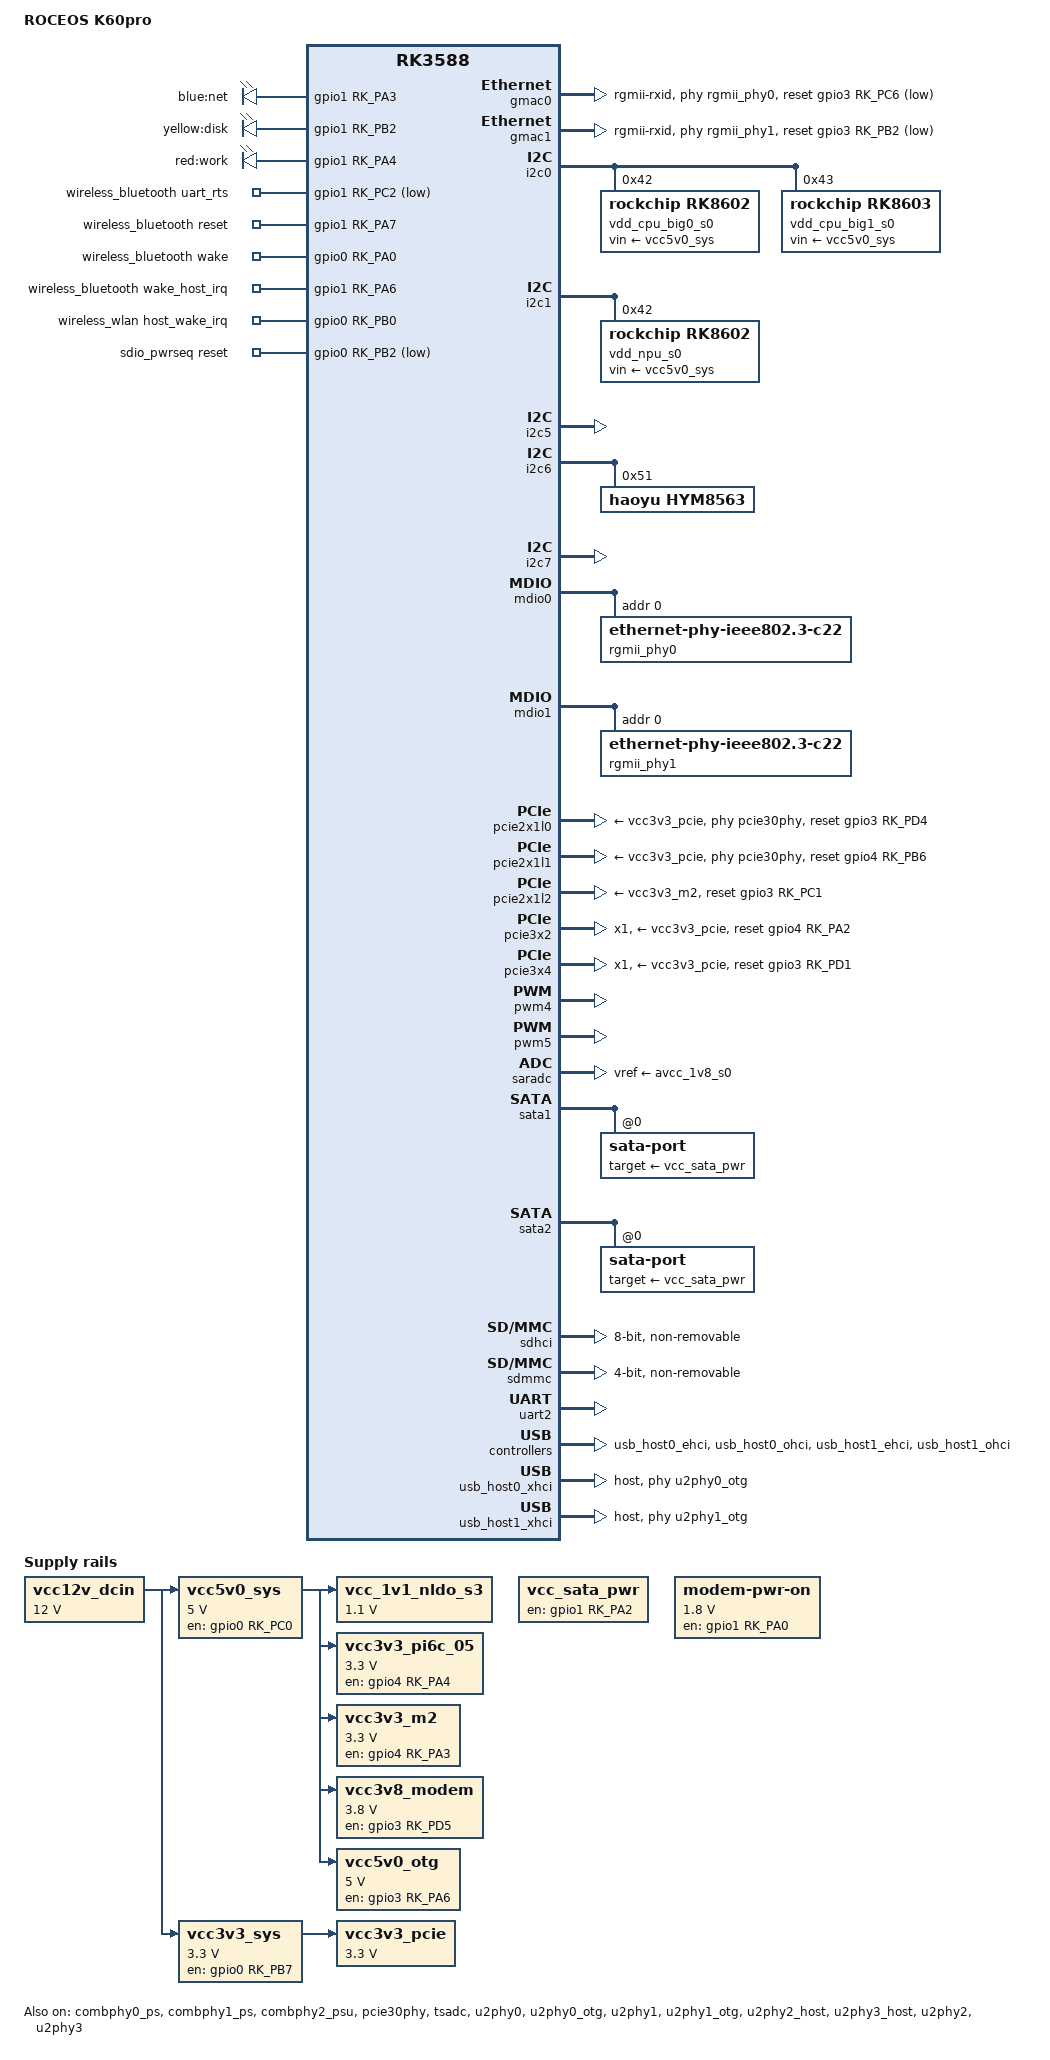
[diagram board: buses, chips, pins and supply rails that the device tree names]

/dts-v1/;

#include <dt-bindings/gpio/gpio.h>
#include <dt-bindings/input/input.h>
#include <dt-bindings/pinctrl/rockchip.h>
#include <dt-bindings/usb/pd.h>
#include <rockchip/rk3588.dtsi>
#include "rk3588-rk806-single.dtsi"
#include "rk3588s-ip.dtsi"
#include "rk3588s-ip-supply.dtsi"

/ {
	model = "ROCEOS K60pro";
	compatible = "roceos,k60pro", "rockchip,rk3588";

	aliases {
		ethernet0 = &gmac0;
		ethernet1 = &gmac1;

		led-boot = &led_red;
		led-failsafe = &led_red;
		led-running = &led_red;
		led-upgrade = &led_red;
	};

	chosen {
		stdout-path = "serial2:115200n8";
	};

	leds {
		compatible = "gpio-leds";
		pinctrl-names = "default";
		pinctrl-0 = <&led_net_en>, <&led_sata_en>,
			<&led_work_en>;

		net {
			label = "blue:net";
			gpios = <&gpio1 RK_PA3 GPIO_ACTIVE_HIGH>;
		};

		disk {
			label = "yellow:disk";
			gpios = <&gpio1 RK_PB2 GPIO_ACTIVE_HIGH>;
		};

		led_red: work {
			label = "red:work";
			gpios = <&gpio1 RK_PA4 GPIO_ACTIVE_HIGH>;
		};
	};

	vcc12v_dcin: vcc12v-dcin {
		compatible = "regulator-fixed";
		regulator-always-on;
		regulator-boot-on;
		regulator-min-microvolt = <12000000>;
		regulator-max-microvolt = <12000000>;
		regulator-name = "vcc12v_dcin";
	};

	vcc5v0_sys: vcc5v0-sys {
		compatible = "regulator-fixed";
		regulator-always-on;
		regulator-boot-on;
		enable-active-high;
		gpios = <&gpio0 RK_PC0 GPIO_ACTIVE_HIGH>;
		regulator-min-microvolt = <5000000>;
		regulator-max-microvolt = <5000000>;
		regulator-name = "vcc5v0_sys";
		pinctrl-names = "default";
		pinctrl-0 = <&vcc5v0_power_en>;
		vin-supply = <&vcc12v_dcin>;
	};

	vcc3v3_sys: vcc3v3-sys {
		compatible = "regulator-fixed";
		regulator-always-on;
		regulator-boot-on;
		enable-active-high;
		gpios = <&gpio0 RK_PB7 GPIO_ACTIVE_HIGH>;
		regulator-min-microvolt = <3300000>;
		regulator-max-microvolt = <3300000>;
		regulator-name = "vcc3v3_sys";
		pinctrl-names = "default";
		pinctrl-0 = <&vcc3v3_power_en>;
		vin-supply = <&vcc12v_dcin>;
	};

	vcc_1v1_nldo_s3: vcc-1v1-nldo-s3 {
		compatible = "regulator-fixed";
		regulator-always-on;
		regulator-boot-on;
		regulator-min-microvolt = <1100000>;
		regulator-max-microvolt = <1100000>;
		regulator-name = "vcc_1v1_nldo_s3";
		vin-supply = <&vcc5v0_sys>;
	};

	/* pi6c pcie clock generator feeds both ports */
	vcc3v3_pi6c_05: vcc3v3-pi6c-05 {
		compatible = "regulator-fixed";
		regulator-name = "vcc3v3_pi6c_05";
		regulator-always-on;
		regulator-boot-on;
		regulator-min-microvolt = <3300000>;
		regulator-max-microvolt = <3300000>;
		enable-active-high;
		gpios = <&gpio4 RK_PA4 GPIO_ACTIVE_HIGH>;
		startup-delay-us = <200000>;
		pinctrl-names = "default";
		pinctrl-0 = <&pi6c_power_en>;
		vin-supply = <&vcc5v0_sys>;
	};

	/* actually fed by vcc5v0_sys, dependent on pi6c clock generator */
	vcc3v3_m2: vcc3v3-m2 {
		compatible = "regulator-fixed";
		enable-active-high;
		gpios = <&gpio4 RK_PA3 GPIO_ACTIVE_HIGH>;
		regulator-min-microvolt = <3300000>;
		regulator-max-microvolt = <3300000>;
		regulator-name = "vcc3v3_m2";
		startup-delay-us = <50000>;
		pinctrl-names = "default";
		pinctrl-0 = <&m2_power_en>;
		clk-supply = <&vcc3v3_pi6c_05>;
		vin-supply = <&vcc5v0_sys>;
	};

	/* actually fed by vcc3v3_sys, dependent on pi6c clock generator */
	vcc3v3_pcie: vcc3v3-pcie {
		compatible = "regulator-fixed";
		regulator-name = "vcc3v3_pcie";
		regulator-min-microvolt = <3300000>;
		regulator-max-microvolt = <3300000>;
		startup-delay-us = <50000>;
		clk-supply = <&vcc3v3_pi6c_05>;
		vin-supply = <&vcc3v3_sys>;
	};

	vcc_sata_pwr: vcc-sata-pwr {
		compatible = "regulator-fixed";
		enable-active-high;
		gpios = <&gpio1 RK_PA2 GPIO_ACTIVE_HIGH>;
		regulator-name = "vcc_sata_pwr";
		pinctrl-names = "default";
		pinctrl-0 = <&vcc_sata_pwr_en>;
		vin1-supply = <&vcc12v_dcin>;
		vin2-supply = <&vcc5v0_sys>;
	};

	vcc3v8_modem: vcc3v3-modem {
		compatible = "regulator-fixed";
		enable-active-high;
		regulator-always-on;
		regulator-boot-on;
		gpios = <&gpio3 RK_PD5 GPIO_ACTIVE_HIGH>;
		regulator-min-microvolt = <3800000>;
		regulator-max-microvolt = <3800000>;
		regulator-name = "vcc3v8_modem";
		pinctrl-names = "default";
		pinctrl-0 = <&modem_power_en>;
		vin-supply = <&vcc5v0_sys>;
	};

	/* press modem power key 2s to boot */
	modem-pwr-on {
		compatible = "regulator-fixed";
		enable-active-high;
		regulator-always-on;
		regulator-boot-on;
		gpios = <&gpio1 RK_PA0 GPIO_ACTIVE_HIGH>;
		regulator-min-microvolt = <1800000>;
		regulator-max-microvolt = <1800000>;
		regulator-name = "modem-pwr-on";
		vccio-supply = <&vcc_1v8_s0>;
		startup-delay-us = <2000000>;
		pinctrl-names = "default";
		pinctrl-0 = <&modem_pwr_on_en>;
	};

	vcc5v0_otg: vcc5v0-usb-host {
		compatible = "regulator-fixed";
		enable-active-high;
		gpio = <&gpio3 RK_PA6 GPIO_ACTIVE_HIGH>;
		pinctrl-names = "default";
		pinctrl-0 = <&vcc5v0_otg_en>;
		regulator-min-microvolt = <5000000>;
		regulator-max-microvolt = <5000000>;
		regulator-name = "vcc5v0_otg";
		vin-supply = <&vcc5v0_sys>;
	};

	wireless_bluetooth: wireless-bluetooth {
		status = "okay";
		compatible = "bluetooth-platdata";
		clocks = <&hym8563>;
		clock-names = "ext_clock";
		uart_rts_gpios = <&gpio1 RK_PC2 GPIO_ACTIVE_LOW>;
		pinctrl-names = "default", "rts_gpio";
		pinctrl-0 = <&uart3_rtsn>, <&bt_reset_gpio>, <&bt_wake_gpio>, <&bt_irq_gpio>;
		pinctrl-1 = <&uart3_gpios>;
		BT,reset_gpio = <&gpio1 RK_PA7 GPIO_ACTIVE_HIGH>;
		BT,wake_gpio = <&gpio0 RK_PA0 GPIO_ACTIVE_HIGH>;
		BT,wake_host_irq = <&gpio1 RK_PA6 GPIO_ACTIVE_HIGH>;
	};

	wireless_wlan: wireless-wlan {
		status = "okay";
		compatible = "wlan-platdata";
		wifi_chip_type = "ap6255";
		pinctrl-names = "default";
		pinctrl-0 = <&wifi_host_wake_irq>;
		WIFI,host_wake_irq = <&gpio0 RK_PB0 GPIO_ACTIVE_HIGH>;
	};

	sdio_pwrseq: sdio-pwrseq {
		status = "okay";
		compatible = "mmc-pwrseq-simple";
		clocks = <&hym8563>;
		clock-names = "ext_clock";
		pinctrl-names = "default";
		pinctrl-0 = <&wifi_enable_h>;
		post-power-on-delay-ms = <200>;
		reset-gpios = <&gpio0 RK_PB2 GPIO_ACTIVE_LOW>;
	};

};

&combphy0_ps {
	status = "okay";
};

&combphy1_ps {
	status = "okay";
};

&combphy2_psu {
	status = "okay";
};

&cpu_l0 {
	cpu-supply = <&vdd_cpu_lit_s0>;
};

&cpu_l1 {
	cpu-supply = <&vdd_cpu_lit_s0>;
};

&cpu_l2 {
	cpu-supply = <&vdd_cpu_lit_s0>;
};

&cpu_l3 {
	cpu-supply = <&vdd_cpu_lit_s0>;
};

&cpu_b0 {
	cpu-supply = <&vdd_cpu_big0_s0>;
};

&cpu_b1 {
	cpu-supply = <&vdd_cpu_big0_s0>;
};

&cpu_b2 {
	cpu-supply = <&vdd_cpu_big1_s0>;
};

&cpu_b3 {
	cpu-supply = <&vdd_cpu_big1_s0>;
};

&gmac0 {// ethernet@fe1b0000
	/* Use rgmii-rxid mode to disable rx delay inside Soc */
	phy-mode = "rgmii-rxid";

	snps,reset-gpio = <&gpio3 RK_PC6 GPIO_ACTIVE_LOW>;
	snps,reset-active-low;
	/* Reset time is 20ms, 100ms for rtl8211f */
	snps,reset-delays-us = <0 20000 100000>;

	pinctrl-names = "default";
#if 0
	pinctrl-0 = <&gmac0_miim
			&gmac0_tx_bus2
			&gmac0_rx_bus2
			&gmac0_rgmii_clk
			&gmac0_rgmii_bus
			&gmac0_clkinout>;
	clock_in_out = "input";
#else
	pinctrl-0 = <&gmac0_miim
			&gmac0_tx_bus2
			&gmac0_rx_bus2
			&gmac0_rgmii_clk
			&gmac0_rgmii_bus>;
	clock_in_out = "output";
#endif
	tx_delay = <0x44>;
	// rx_delay = <0x00>;

	phy-handle = <&rgmii_phy0>;
	status = "okay";
};

&gmac1 {// ethernet@fe1c0000
	/* Use rgmii-rxid mode to disable rx delay inside Soc */
	phy-mode = "rgmii-rxid";

	snps,reset-gpio = <&gpio3 RK_PB2 GPIO_ACTIVE_LOW>;
	snps,reset-active-low;
	/* Reset time is 20ms, 100ms for rtl8211f */
	snps,reset-delays-us = <0 20000 100000>;

	pinctrl-names = "default";
#if 0
	pinctrl-0 = <&gmac1_miim
			&gmac1_tx_bus2
			&gmac1_rx_bus2
			&gmac1_rgmii_clk
			&gmac1_rgmii_bus
			&gmac1_clkinout>;
	clock_in_out = "input";
#else
	pinctrl-0 = <&gmac1_miim
			&gmac1_tx_bus2
			&gmac1_rx_bus2
			&gmac1_rgmii_clk
			&gmac1_rgmii_bus>;
	clock_in_out = "output";
#endif

	tx_delay = <0x30>;
	/* rx_delay = <0x4f>; */

	phy-handle = <&rgmii_phy1>;
	status = "okay";
};

&i2c0 {
	pinctrl-names = "default";
	pinctrl-0 = <&i2c0m2_xfer>;
	status = "okay";

	vdd_cpu_big0_s0: regulator@42 {
		compatible = "rockchip,rk8602";
		reg = <0x42>;
		fcs,suspend-voltage-selector = <1>;
		regulator-name = "vdd_cpu_big0_s0";
		regulator-always-on;
		regulator-boot-on;
		regulator-min-microvolt = <550000>;
		regulator-max-microvolt = <1050000>;
		regulator-ramp-delay = <2300>;
		vin-supply = <&vcc5v0_sys>;

		regulator-state-mem {
			regulator-off-in-suspend;
		};
	};

	vdd_cpu_big1_s0: regulator@43 {
		compatible = "rockchip,rk8603", "rockchip,rk8602";
		reg = <0x43>;
		fcs,suspend-voltage-selector = <1>;
		regulator-name = "vdd_cpu_big1_s0";
		regulator-always-on;
		regulator-boot-on;
		regulator-min-microvolt = <550000>;
		regulator-max-microvolt = <1050000>;
		regulator-ramp-delay = <2300>;
		vin-supply = <&vcc5v0_sys>;

		regulator-state-mem {
			regulator-off-in-suspend;
		};
	};
};

&i2c1 {
	pinctrl-names = "default";
	pinctrl-0 = <&i2c1m2_xfer>;
	status = "okay";

	vdd_npu_s0: regulator@42 {
		compatible = "rockchip,rk8602";
		reg = <0x42>;
		fcs,suspend-voltage-selector = <1>;
		regulator-name = "vdd_npu_s0";
		regulator-always-on;
		regulator-boot-on;
		regulator-min-microvolt = <550000>;
		regulator-max-microvolt = <950000>;
		regulator-ramp-delay = <2300>;
		vin-supply = <&vcc5v0_sys>;

		regulator-state-mem {
			regulator-off-in-suspend;
		};
	};

};

&i2c5 {
	pinctrl-names = "default";
	pinctrl-0 = <&i2c5m2_xfer>;
	status = "okay";
};

&i2c6 {
	pinctrl-names = "default";
	pinctrl-0 = <&i2c6m0_xfer>;
	status = "okay";

	hym8563: rtc@51 {
		compatible = "haoyu,hym8563";
		reg = <0x51>;
		#clock-cells = <0>;
		clock-output-names = "hym8563";
		wakeup-source;
	};
};

&i2c7 {
	pinctrl-names = "default";
	pinctrl-0 = <&i2c7m3_xfer>;
	status = "okay";
};

&mdio0 {
	rgmii_phy0: ethernet-phy@0 {
		/* RTL8211FS */
		compatible = "ethernet-phy-ieee802.3-c22";
		reg = <0x0>;
		pinctrl-names = "default";
		pinctrl-0 = <&rtl8211f0_rst>;
		reset-assert-us = <20000>;
		reset-deassert-us = <100000>;
		//reset-gpios = <&gpio3 RK_PC6 GPIO_ACTIVE_LOW>;
		realtek,fiber;
		realtek,led-data = <0x616b>;
		realtek,flcr-data = <0xd3e9>;
	};
};

&mdio1 {
	rgmii_phy1: ethernet-phy@0 {
		/* RTL8211FS */
		compatible = "ethernet-phy-ieee802.3-c22";
		reg = <0x0>;
		pinctrl-names = "default";
		pinctrl-0 = <&rtl8211f1_rst>;
		reset-assert-us = <20000>;
		reset-deassert-us = <100000>;
		//reset-gpios = <&gpio3 RK_PB2 GPIO_ACTIVE_LOW>;
		realtek,fiber;
		realtek,led-data = <0x616b>;
		realtek,flcr-data = <0xd3e9>;
	};
};

&pcie2x1l0 {
	// idx3,p0l1
	phys = <&pcie30phy>;
	reset-gpios = <&gpio3 RK_PD4 GPIO_ACTIVE_HIGH>;
	vpcie3v3-supply = <&vcc3v3_pcie>;
	status = "okay";
};

&pcie2x1l1 {
	// idx4, p1l1
	phys = <&pcie30phy>;
	reset-gpios = <&gpio4 RK_PB6 GPIO_ACTIVE_HIGH>;
	vpcie3v3-supply = <&vcc3v3_pcie>;
	status = "okay";
};

&pcie2x1l2 {
	// m2
	reset-gpios = <&gpio3 RK_PC1 GPIO_ACTIVE_HIGH>;
	vpcie3v3-supply = <&vcc3v3_m2>;
	status = "okay";
};

&pcie30phy {
	// rockchip,pcie30-phymode = <PHY_MODE_PCIE_NABIBI>;
	data-lanes = <1 3 2 4>;
	status = "okay";
};

&pcie3x2 {
	// idx2, p1l0
	num-lanes = <1>;
	reset-gpios = <&gpio4 RK_PA2 GPIO_ACTIVE_HIGH>;
	vpcie3v3-supply = <&vcc3v3_pcie>;
	status = "okay";
};

&pcie3x4 {
	// idx1, p0l0
	num-lanes = <1>;
	reset-gpios = <&gpio3 RK_PD1 GPIO_ACTIVE_HIGH>;
	vpcie3v3-supply = <&vcc3v3_pcie>;
	status = "okay";
};

&pinctrl {
	rtl8211f {
		rtl8211f0_rst: rtl8211f0-rst {
			rockchip,pins = <3 RK_PC6 RK_FUNC_GPIO &pcfg_pull_none>;
		};
		rtl8211f1_rst: rtl8211f1-rst {
			rockchip,pins = <3 RK_PB2 RK_FUNC_GPIO &pcfg_pull_none>;
		};
	};
	leds {
		led_net_en: led_net_en {
			rockchip,pins = <1 RK_PA3 RK_FUNC_GPIO &pcfg_pull_none>;
		};

		led_sata_en: led_sata_en {
			rockchip,pins = <1 RK_PB2 RK_FUNC_GPIO &pcfg_pull_none>;
		};

		led_work_en: led_work_en {
			rockchip,pins = <1 RK_PA4 RK_FUNC_GPIO &pcfg_pull_none>;
		};
	};

	modem {
		modem_power_en: modem-power-en {
			rockchip,pins = <3 RK_PD5 RK_FUNC_GPIO &pcfg_pull_none>;
		};
		modem_pwr_on_en: modem-pwr-on-en {
			rockchip,pins = <1 RK_PA0 RK_FUNC_GPIO &pcfg_pull_down>;
		};
	};
	pi6c {
		pi6c_power_en: pi6c-power-en {
			rockchip,pins = <4 RK_PA4 RK_FUNC_GPIO &pcfg_pull_none>;
		};
	};
	m2 {
		m2_power_en: m2-power-en {
			rockchip,pins = <4 RK_PA3 RK_FUNC_GPIO &pcfg_pull_none>;
		};
	};
	power {
		vcc3v3_power_en: vcc3v3_power_en {
			rockchip,pins = <0 RK_PB7 RK_FUNC_GPIO &pcfg_pull_none>;
		};
		vcc5v0_power_en: vcc5v0_power_en {
			rockchip,pins = <0 RK_PC0 RK_FUNC_GPIO &pcfg_pull_none>;
		};
	};
	rtc {
		rtc_int: rtc-int {
			rockchip,pins = <0 RK_PB2 RK_FUNC_GPIO &pcfg_pull_up>;
		};
	};
	sata {
		vcc_sata_pwr_en: vcc_sata_pwr_en {
			rockchip,pins = <1 RK_PA2 RK_FUNC_GPIO &pcfg_pull_none>;
		};
	};
	usb {
		vcc5v0_otg_en: vcc5v0_otg_en {
			rockchip,pins = <3 RK_PA6 RK_FUNC_GPIO &pcfg_pull_none>;
		};

	};

	usb-typec {
		usbc0_int: usbc0-int {
			rockchip,pins = <1 RK_PA0 RK_FUNC_GPIO &pcfg_pull_up>;
		};
	};

	wireless-bluetooth {
		uart3_gpios: uart3-gpios {
			rockchip,pins = <1 RK_PC2 RK_FUNC_GPIO &pcfg_pull_none>;
		};

		bt_reset_gpio: bt-reset-gpio {
			rockchip,pins = <1 RK_PA7 RK_FUNC_GPIO &pcfg_pull_none>;
		};

		bt_wake_gpio: bt-wake-gpio {
			rockchip,pins = <0 RK_PA0 RK_FUNC_GPIO &pcfg_pull_none>;
		};

		bt_irq_gpio: bt-irq-gpio {
			rockchip,pins = <1 RK_PA6 RK_FUNC_GPIO &pcfg_pull_down>;
		};
	};
	wireless-wlan {
		wifi_host_wake_irq: wifi-host-wake-irq {
			rockchip,pins = <0 RK_PB0 RK_FUNC_GPIO &pcfg_pull_down>;
		};
	};
	sdio-pwrseq {
		wifi_enable_h: wifi-enable-h {
			rockchip,pins = <0 RK_PB2 RK_FUNC_GPIO &pcfg_pull_none>;
		};
	};
};

&pwm4 {
	// fan0
	status = "okay";
	pinctrl-0 = <&pwm4m0_pins>;
};

&pwm5 {
	// fan1
	status = "okay";
	pinctrl-0 = <&pwm5m1_pins>;
};

&saradc {
	vref-supply = <&avcc_1v8_s0>;
	status = "okay";
};

&sata1 {
	status = "okay";
	sata-port@0 {
		target-supply = <&vcc_sata_pwr>;
	};
};

&sata2 {
	status = "okay";
	sata-port@0 {
		target-supply = <&vcc_sata_pwr>;
	};
};

&sdhci {
	bus-width = <8>;
	no-sdio;
	no-sd;
	non-removable;
	max-frequency = <200000000>;
	mmc-hs400-1_8v;
	mmc-hs400-enhanced-strobe;
	status = "okay";
};

&sdmmc {
	// wifi,bt
	bus-width = <4>;
	cap-mmc-highspeed;
	cap-sd-highspeed;
	disable-wp;
	no-sd;
	no-mmc;
	supports-sdio;
	sd-uhs-sdr50;
	non-removable;
	mmc-pwrseq = <&sdio_pwrseq>;
	//cd-gpios = <&gpio0 RK_PA4 GPIO_ACTIVE_LOW>;
	status = "okay";
};

&tsadc {
	status = "okay";
};

&uart2 {
	pinctrl-0 = <&uart2m0_xfer>;
	status = "okay";
};

&u2phy0 {
	status = "okay";
};

&u2phy0_otg {
	phy-supply = <&vcc5v0_otg>;
	status = "okay";
};

&u2phy1 {
	status = "okay";
};

&u2phy1_otg {
	phy-supply = <&vcc5v0_otg>;
	status = "okay";
};

&u2phy2_host {
	status = "okay";
};

&u2phy3_host {
	//phy-supply = <&vcc3v8_modem>;
	status = "okay";
};

&u2phy2 {
	status = "okay";
};

&u2phy3 {
	status = "okay";
};

&usb_host0_ehci {
	status = "okay";
};

&usb_host0_ohci {
	status = "okay";
};

&usb_host0_xhci {
	dr_mode = "host";
	status = "okay";
	phys = <&u2phy0_otg>;
	phy-names = "usb2-phy";
};

&usb_host1_xhci {
	dr_mode = "host";
	status = "okay";
	phys = <&u2phy1_otg>;
	phy-names = "usb2-phy";
};

// 4G
&usb_host1_ehci {
	status = "okay";
};

&usb_host1_ohci {
	status = "okay";
};
